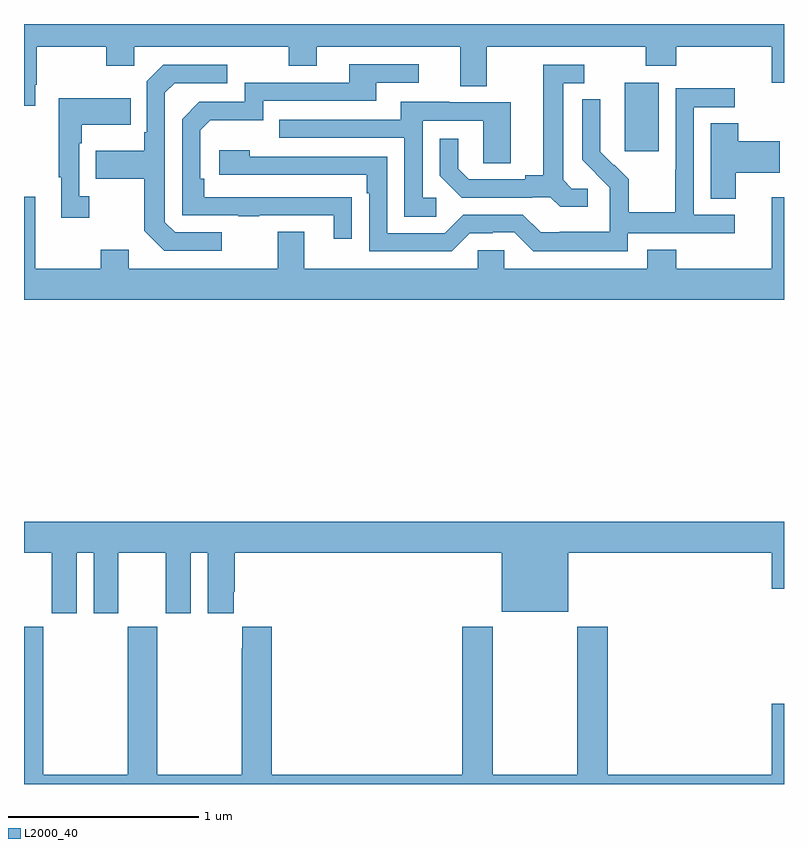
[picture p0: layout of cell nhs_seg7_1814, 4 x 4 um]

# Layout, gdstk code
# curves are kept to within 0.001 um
import gdstk
lib = gdstk.Library(unit=1e-6, precision=1e-09)
def R(c, l, rs):  # rectangles x0, y0, x1, y1
    for r in rs: c.add(gdstk.rectangle(r[:2], r[2:], *l))
def P(c, l, *ps):  # polygons
    for p in ps: c.add(gdstk.Polygon(p, *l))
L2000_40 = (2000, 40)

nhs_seg7_1814 = lib.new_cell('nhs_seg7_1814')
R(nhs_seg7_1814, L2000_40, [(236.162,1069.329,236.341,1069.69)])
P(nhs_seg7_1814, L2000_40, [(233.059,1069.681),(233.067,1069.681),(233.067,1069.88),(233.434,1069.88),(233.434,1069.781),(233.58,1069.781),(233.58,1069.88),(234.394,1069.88),(234.394,1069.781),(234.541,1069.781),(234.541,1069.88),(235.295,1069.88),(235.295,1069.672),(235.435,1069.672),(235.435,1069.88),(236.272,1069.88),(236.272,1069.781),(236.432,1069.781),(236.432,1069.88),(236.936,1069.88),(236.936,1069.692),(237,1069.692),(237,1070),(233,1070),(233,1069.569),(233.059,1069.569)],
  [(234.725,1069.088),(233.948,1069.089),(233.948,1069.186),(233.928,1069.186),(233.928,1069.44),(233.981,1069.493),(234.258,1069.493),(234.258,1069.596),(234.853,1069.596),(234.853,1069.692),(235.078,1069.692),(235.078,1069.788),(234.713,1069.788),(234.713,1069.692),(234.162,1069.692),(234.162,1069.59),(233.922,1069.59),(233.832,1069.5),(233.832,1068.993),(234.127,1068.993),(234.127,1068.988),(234.239,1068.988),(234.239,1068.993),(234.629,1068.993),(234.629,1068.87),(234.725,1068.87)],
  [(234.04,1068.903),(233.796,1068.903),(233.742,1068.957),(233.742,1069.638),(233.793,1069.689),(234.07,1069.689),(234.07,1069.785),(233.733,1069.785),(233.646,1069.698),(233.646,1069.429),(233.634,1069.429),(233.634,1069.333),(233.377,1069.333),(233.377,1069.186),(233.634,1069.186),(233.634,1068.913),(233.739,1068.807),(234.04,1068.807)],
  [(235.966,1069.134),(235.884,1069.134),(235.837,1069.181),(235.837,1069.689),(235.948,1069.689),(235.948,1069.785),(235.733,1069.785),(235.733,1069.205),(235.637,1069.205),(235.637,1069.182),(235.342,1069.182),(235.285,1069.239),(235.285,1069.396),(235.188,1069.396),(235.188,1069.202),(235.304,1069.086),(235.676,1069.086),(235.676,1069.089),(235.77,1069.089),(235.822,1069.037),(235.966,1069.037)],
  [(236.178,1068.9),(236.74,1068.9),(236.74,1068.996),(236.526,1068.996),(236.526,1069.563),(236.74,1069.563),(236.74,1069.662),(236.43,1069.662),(236.43,1069.232),(236.428,1069.232),(236.428,1069.009),(236.183,1069.009),(236.183,1069.183),(236.106,1069.26),(236.103,1069.257),(236.033,1069.328),(236.034,1069.604),(235.938,1069.604),(235.938,1069.286),(236.084,1069.138),(236.084,1069.041),(236.082,1069.041),(236.082,1068.907),(235.819,1068.907),(235.819,1068.903),(235.719,1068.903),(235.626,1068.996),(235.311,1068.996),(235.215,1068.9),(234.912,1068.9),(234.912,1069.302),(234.188,1069.302),(234.188,1069.336),(234.027,1069.336),(234.027,1069.206),(234.803,1069.206),(234.803,1069.109),(234.816,1069.109),(234.816,1068.804),(235.251,1068.804),(235.347,1068.9),(235.466,1068.9),(235.466,1068.903),(235.581,1068.903),(235.681,1068.803),(236.178,1068.803)],
  [(233.344,1069.094),(233.292,1069.094),(233.292,1069.373),(233.305,1069.373),(233.305,1069.469),(233.561,1069.469),(233.561,1069.609),(233.184,1069.609),(233.184,1069.193),(233.195,1069.193),(233.195,1068.981),(233.344,1068.981)],
  [(235.171,1069.086),(235.098,1069.086),(235.098,1069.491),(235.416,1069.491),(235.416,1069.267),(235.561,1069.267),(235.561,1069.587),(235.237,1069.587),(235.237,1069.591),(234.983,1069.591),(234.983,1069.497),(234.343,1069.497),(234.343,1069.401),(235.002,1069.401),(235.002,1068.985),(235.171,1068.985)],
  [(236.746,1069.217),(236.977,1069.217),(236.977,1069.383),(236.759,1069.383),(236.759,1069.478),(236.615,1069.478),(236.615,1069.081),(236.746,1069.081)],
  [(237,1069.087),(236.936,1069.087),(236.936,1068.712),(236.432,1068.712),(236.432,1068.811),(236.279,1068.811),(236.279,1068.712),(235.527,1068.712),(235.527,1068.81),(235.389,1068.81),(235.389,1068.712),(234.475,1068.712),(234.475,1068.907),(234.335,1068.907),(234.335,1068.712),(233.551,1068.712),(233.551,1068.811),(233.404,1068.811),(233.404,1068.712),(233.059,1068.712),(233.059,1069.09),(233,1069.09),(233,1068.548),(237,1068.548)],
  [(233.278,1067.216),(233.366,1067.216),(233.366,1066.899),(233.497,1066.899),(233.497,1067.216),(233.747,1067.216),(233.747,1066.899),(233.878,1066.899),(233.878,1067.216),(233.966,1067.216),(233.966,1066.899),(234.103,1066.899),(234.103,1067.011),(234.11,1067.011),(234.11,1067.216),(235.514,1067.216),(235.514,1066.907),(235.864,1066.907),(235.864,1067.216),(236.936,1067.216),(236.936,1067.028),(237,1067.028),(237,1067.38),(233,1067.38),(233,1067.216),(233.147,1067.216),(233.147,1066.899),(233.278,1066.899)],
  [(237,1066.423),(236.936,1066.423),(236.936,1066.048),(236.072,1066.048),(236.072,1066.828),(235.912,1066.828),(235.912,1066.048),(235.467,1066.048),(235.467,1066.828),(235.307,1066.828),(235.307,1066.048),(234.305,1066.048),(234.305,1066.828),(234.149,1066.828),(234.149,1066.715),(234.145,1066.715),(234.145,1066.048),(233.7,1066.048),(233.7,1066.828),(233.545,1066.828),(233.545,1066.048),(233.1,1066.048),(233.1,1066.828),(233,1066.828),(233,1066),(237,1066)])

lib.write_gds('nhs_seg7_1814.gds')
